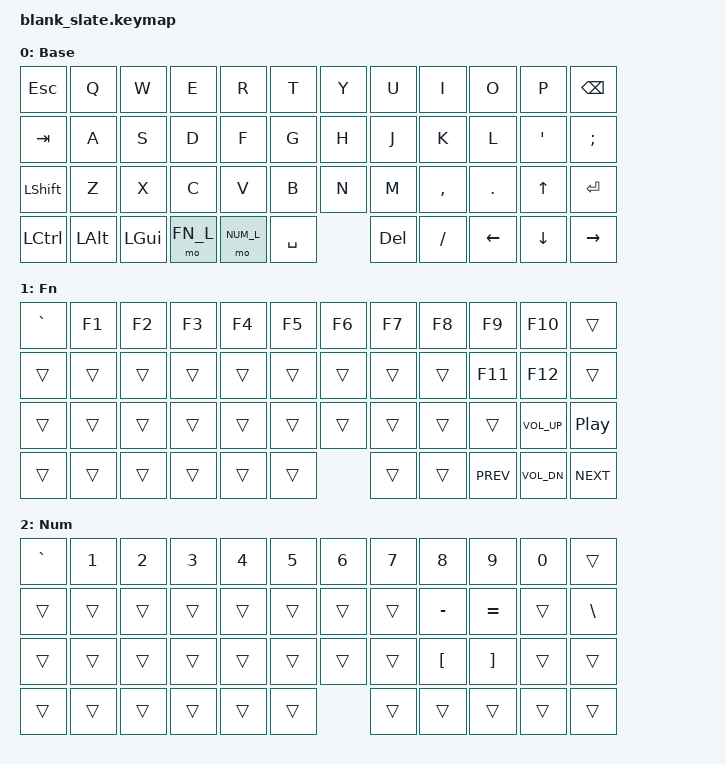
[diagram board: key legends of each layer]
/*
 * Copyright (c) 2022 Pete Johanson
 *
 * SPDX-License-Identifier: MIT
 */

#include <behaviors.dtsi>
#include <dt-bindings/zmk/keys.h>
#include <dt-bindings/zmk/outputs.h>

#define FN_L 1
#define NUM_L 2
#define QWERTY_BASE 1

/ {
    chosen {
        zmk,physical-layout =
        &layout_ortho_4x12_1x2u;
    };

    keymap {
        compatible = "zmk,keymap";

        base_layer {
            label = "Base";
            bindings = <
            &kp ESC    &kp Q      &kp W      &kp E       &kp R          &kp T          &kp Y        &kp U          &kp I       &kp O      &kp P          &kp BKSP
            &kp TAB    &kp A      &kp S      &kp D       &kp F          &kp G          &kp H        &kp J          &kp K       &kp L      &kp QUOT       &kp SEMI
            &kp LSHFT  &kp Z      &kp X      &kp C       &kp V          &kp B          &kp N        &kp M          &kp COMMA   &kp DOT    &kp UP         &kp RET
            &kp LCTRL  &kp LALT   &kp LGUI   &mo FN_L   &mo NUM_L          &kp SPACE                &kp DEL        &kp FSLH    &kp LEFT   &kp DOWN       &kp RIGHT
            >;
        };

        fn_layer {
            label = "Fn";
            bindings = <
            &kp GRAVE  &kp F1     &kp F2     &kp F3      &kp F4          &kp F5       &kp F6     &kp F7       &kp F8      &kp F9        &kp F10          &trans
            &trans     &trans     &trans     &trans      &trans          &trans       &trans     &trans       &trans      &kp F11       &kp F12          &trans
            &trans     &trans     &trans     &trans      &trans          &trans       &trans     &trans       &trans      &trans        &kp C_VOL_UP     &kp C_PP
            &trans     &trans     &trans     &trans      &trans                &trans            &trans       &trans      &kp C_PREV    &kp C_VOL_DN     &kp C_NEXT
            >;
        };

        num_layer {
            label = "Num";
            bindings = <
            &kp GRAVE     &kp N1     &kp N2     &kp N3      &kp N4          &kp N5       &kp N6     &kp N7       &kp N8       &kp N9       &kp N0    &trans
            &trans     &trans     &trans     &trans      &trans          &trans       &trans     &trans       &kp MINUS    &kp EQUAL    &trans    &kp BSLH
            &trans     &trans     &trans     &trans      &trans          &trans       &trans     &trans       &kp LBKT     &kp RBKT     &trans    &trans
            &trans     &trans     &trans     &trans      &trans                &trans            &trans       &trans       &trans       &trans    &trans
            >;
        };
    };
};

